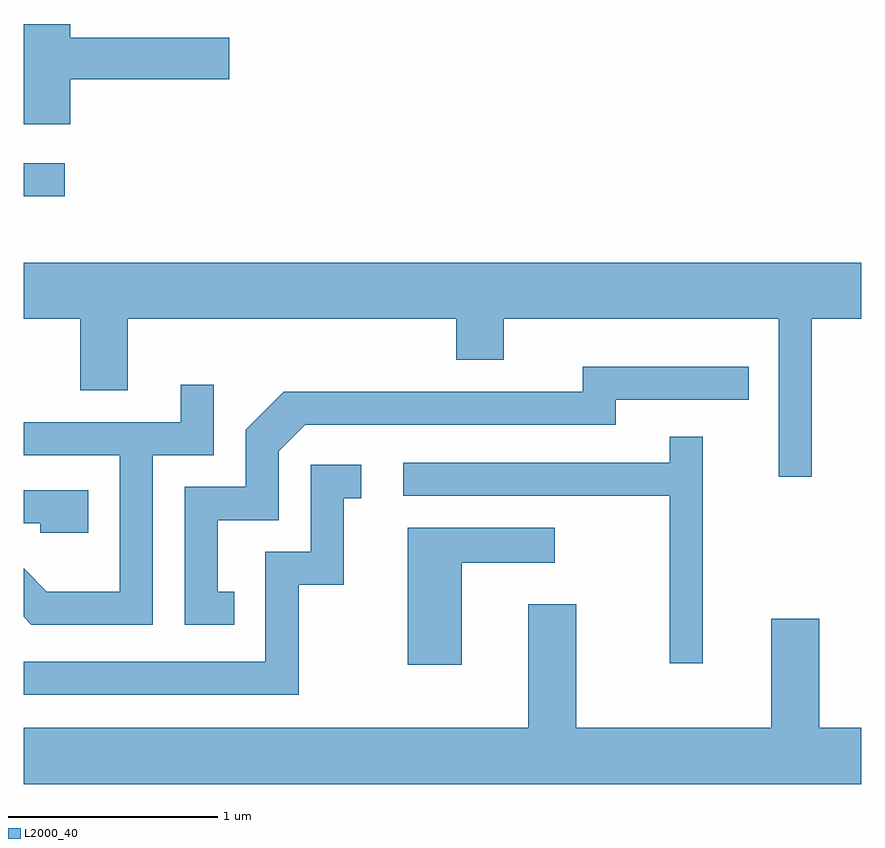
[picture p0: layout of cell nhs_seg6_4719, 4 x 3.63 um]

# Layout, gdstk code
import gdstk
lib = gdstk.Library(unit=1e-6, precision=1e-09)
def R(c, l, rs):  # rectangles x0, y0, x1, y1
    for r in rs: c.add(gdstk.rectangle(r[:2], r[2:], *l))
def P(c, l, *ps):  # polygons
    for p in ps: c.add(gdstk.Polygon(p, *l))
L2000_40 = (2000, 40)

nhs_seg6_4719 = lib.new_cell('nhs_seg6_4719')
R(nhs_seg6_4719, L2000_40, [(329.611,1577.261,329.808,1577.419)])
P(nhs_seg6_4719, L2000_40, [(329.834,1577.821),(330.594,1577.821),(330.594,1578.019),(329.834,1578.019),(329.834,1578.084),(329.611,1578.084),(329.611,1577.606),(329.834,1577.606)],
  [(333.374,1576.676),(333.611,1576.676),(333.611,1576.944),(329.611,1576.944),(329.611,1576.676),(329.881,1576.676),(329.881,1576.336),(330.109,1576.336),(330.109,1576.676),(331.676,1576.676),(331.676,1576.481),(331.904,1576.481),(331.904,1576.676),(333.216,1576.676),(333.216,1575.923),(333.374,1575.923)],
  [(330.618,1575.374),(330.539,1575.374),(330.539,1575.716),(330.829,1575.716),(330.829,1576.044),(330.957,1576.171),(332.439,1576.171),(332.439,1576.291),(333.073,1576.291),(333.073,1576.449),(332.281,1576.449),(332.281,1576.329),(330.854,1576.329),(330.671,1576.147),(330.671,1575.874),(330.381,1575.874),(330.381,1575.216),(330.618,1575.216)],
  [(330.229,1576.026),(330.519,1576.026),(330.519,1576.363),(330.361,1576.363),(330.361,1576.184),(329.611,1576.184),(329.611,1576.026),(330.071,1576.026),(330.071,1575.374),(329.722,1575.374),(329.611,1575.485),(329.611,1575.254),(329.649,1575.216),(330.229,1575.216)],
  [(332.854,1576.113),(332.696,1576.113),(332.696,1575.989),(331.423,1575.989),(331.423,1575.831),(332.696,1575.831),(332.696,1575.033),(332.854,1575.033)],
  [(330.924,1575.406),(331.139,1575.406),(331.139,1575.821),(331.223,1575.821),(331.223,1575.979),(330.981,1575.979),(330.981,1575.564),(330.766,1575.564),(330.766,1575.039),(329.611,1575.039),(329.611,1574.881),(330.924,1574.881)],
  [(329.919,1575.859),(329.611,1575.859),(329.611,1575.701),(329.691,1575.701),(329.691,1575.656),(329.919,1575.656)],
  [(331.704,1575.511),(332.148,1575.511),(332.148,1575.679),(331.446,1575.679),(331.446,1575.026),(331.704,1575.026)],
  [(333.611,1574.724),(333.409,1574.724),(333.409,1575.244),(333.181,1575.244),(333.181,1574.724),(332.249,1574.724),(332.249,1575.314),(332.021,1575.314),(332.021,1574.724),(329.611,1574.724),(329.611,1574.456),(333.611,1574.456)])

lib.write_gds('nhs_seg6_4719.gds')
